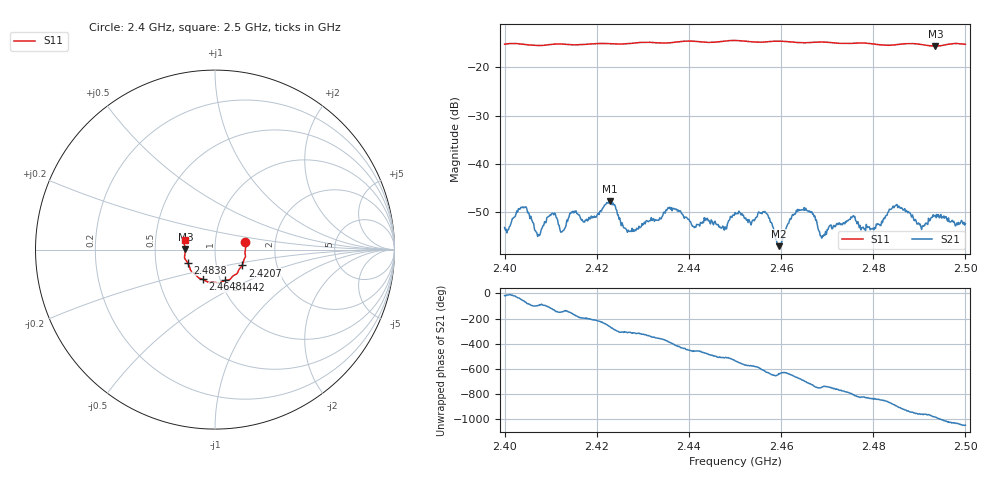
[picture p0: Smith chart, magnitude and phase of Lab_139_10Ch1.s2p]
# Hz S RI R 50
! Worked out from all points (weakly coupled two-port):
!   601 points, 2.4 GHz to 2.5 GHz, reference 50 ohm
!   highest |S21| = -47.64 dB at 2.4228 GHz (marker M1); lowest = -57.0 dB at 2.4595 GHz (marker M2)
!   lowest |S11| = -15.6 dB at 2.4935 GHz (marker M3), VSWR 1.40, Z = 35.8 + j0.13 ohm
!   |S11| at or under -10 dB: start of sweep to end of sweep
!   S12 and S22 are empty: the file has one direction only
!   S11 on the Smith chart (normalised r, x): 2.4 GHz: 1.40, +0.11; 2.4207 GHz: 1.33, -0.24; 2.4442 GHz: 1.05, -0.37; 2.4648 GHz: 0.83, -0.28; 2.4838 GHz: 0.73, -0.11; 2.5 GHz: 0.71, +0.08
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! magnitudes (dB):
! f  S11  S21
! 2.4 GHz  -15.2  -53.1
! 2.404 GHz  -15.2  -48.9
! 2.4073 GHz  -15.5  -54.6
! 2.4103 GHz  -15.2  -50.2
! 2.4125 GHz  -15.2  -54.0
! 2.4167 GHz  -15.3  -51.6
! 2.4207 GHz  -15.1  -49.8
! 2.4228 GHz  -15.1  -47.6
! 2.427 GHz  -15.1  -53.9
! 2.4333 GHz  -15.0  -51.7
! 2.4442 GHz  -14.9  -51.7
! 2.45 GHz  -14.5  -50.0
! 2.4567 GHz  -14.8  -50.1
! 2.4595 GHz  -14.6  -57.0
! 2.4648 GHz  -14.9  -49.6
! 2.4667 GHz  -14.9  -49.8
! 2.469 GHz  -14.8  -54.8
! 2.4833 GHz  -15.5  -49.9
! 2.4838 GHz  -15.4  -49.4
! 2.4907 GHz  -15.3  -52.8
! 2.4935 GHz  -15.6  -50.6
! 2.5 GHz  -15.3  -52.3
